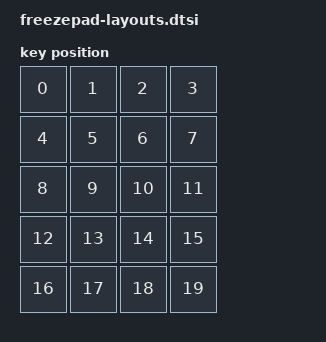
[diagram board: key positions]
/*
 * Copyright (c) 2025 The ZMK Contributors
 *
 * SPDX-License-Identifier: MIT
 */
#include <physical_layouts.dtsi>

/ {
    physical_layout0: physical_layout_0 {
        compatible = "zmk,physical-layout";
        display-name = "Default";

        keys  //                     w   h    x    y   rot    rx    ry
            = <&key_physical_attrs 100 100    0    0     0     0     0>
            , <&key_physical_attrs 100 100  100    0     0   100     0>
            , <&key_physical_attrs 100 100  200    0     0   200     0>
            , <&key_physical_attrs 100 100  300    0     0   300     0>
            , <&key_physical_attrs 100 100    0  100     0     0   100>
            , <&key_physical_attrs 100 100  100  100     0   100   100>
            , <&key_physical_attrs 100 100  200  100     0   200   100>
            , <&key_physical_attrs 100 100  300  100     0   300   100>
            , <&key_physical_attrs 100 100    0  200     0     0   200>
            , <&key_physical_attrs 100 100  100  200     0   100   200>
            , <&key_physical_attrs 100 100  200  200     0   200   200>
            , <&key_physical_attrs 100 100  300  200     0   300   200>
            , <&key_physical_attrs 100 100    0  300     0     0   300>
            , <&key_physical_attrs 100 100  100  300     0   100   300>
            , <&key_physical_attrs 100 100  200  300     0   200   300>
            , <&key_physical_attrs 100 100  300  300     0   300   300>
            , <&key_physical_attrs 100 100    0  400     0     0   400>
            , <&key_physical_attrs 100 100  100  400     0   100   400>
            , <&key_physical_attrs 100 100  200  400     0   200   400>
            , <&key_physical_attrs 100 100  300  400     0   300   400>
            ;
    };
};
